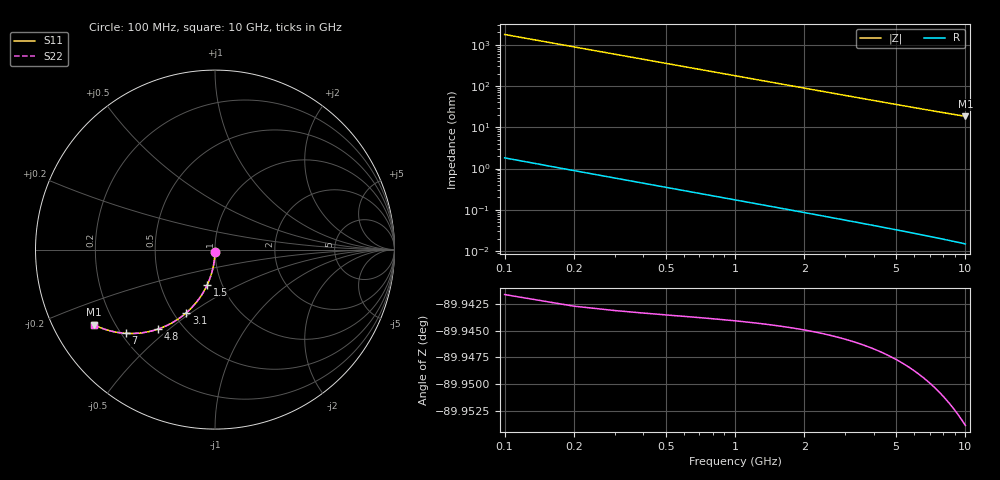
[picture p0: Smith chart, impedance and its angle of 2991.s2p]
# Hz S RI R 50.00
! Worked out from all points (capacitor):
!   100 points, 100 MHz to 10 GHz, reference 50 ohm
!   read as one part in shunt: C = 893 fF near 100 MHz
!   lowest |Z| = 18.5 ohm at 10 GHz (marker M1)
!   S11 on the Smith chart (normalised r, x): 100 MHz: 1.00, -0.03; 1.5 GHz: 0.85, -0.35; 3.1 GHz: 0.58, -0.48; 4.8 GHz: 0.37, -0.46; 7 GHz: 0.22, -0.38; 10 GHz: 0.12, -0.28
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1e8  -9.03e-05 -0.0136  0.9997 -0.0145  0.9997 -0.0145  -9.03e-05 -0.0136
2e8  -0.000692 -0.0271  0.9991 -0.0289  0.9991 -0.0289  -0.000692 -0.0271
3e8  -0.00168 -0.0406  0.9981 -0.0434  0.9981 -0.0434  -0.00168 -0.0406
4e8  -0.00307 -0.0541  0.9967 -0.0578  0.9967 -0.0578  -0.00307 -0.0541
5e8  -0.00483 -0.0675  0.9949 -0.0721  0.9949 -0.0721  -0.00483 -0.0675
6e8  -0.00698 -0.0808  0.9928 -0.0863  0.9928 -0.0863  -0.00698 -0.0808
7e8  -0.00951 -0.094  0.9902 -0.1005  0.9902 -0.1005  -0.00951 -0.094
9e8  -0.0157 -0.1201  0.984 -0.1284  0.984 -0.1284  -0.0157 -0.1201
1.2e9  -0.0276 -0.1582  0.9721 -0.1693  0.9721 -0.1693  -0.0276 -0.1582
1.5e9  -0.0425 -0.1947  0.9572 -0.2085  0.9572 -0.2085  -0.0425 -0.1947
1.8e9  -0.0601 -0.2292  0.9395 -0.2459  0.9395 -0.2459  -0.0601 -0.2292
2.4e9  -0.1023 -0.2917  0.8972 -0.314  0.8972 -0.314  -0.1023 -0.2917
3.1e9  -0.1601 -0.3521  0.8392 -0.3809  0.8392 -0.3809  -0.1601 -0.3521
3.4e9  -0.1867 -0.3737  0.8125 -0.4053  0.8125 -0.4053  -0.1867 -0.3737
4.1e9  -0.2509 -0.4142  0.7481 -0.4524  0.7481 -0.4524  -0.2509 -0.4142
4.8e9  -0.3155 -0.442  0.6832 -0.4869  0.6832 -0.4869  -0.3155 -0.442
5.1e9  -0.3426 -0.4504  0.656 -0.4982  0.656 -0.4982  -0.3426 -0.4504
5.9e9  -0.4121 -0.4641  0.5861 -0.5196  0.5861 -0.5196  -0.4121 -0.4641
6.7e9  -0.4761 -0.4673  0.5216 -0.5306  0.5216 -0.5306  -0.4761 -0.4673
7e9  -0.4985 -0.4664  0.499 -0.5326  0.499 -0.5326  -0.4985 -0.4664
8.4e9  -0.5911 -0.4507  0.4054 -0.5308  0.4054 -0.5308  -0.5911 -0.4507
1e10  -0.6747 -0.4188  0.3204 -0.5152  0.3204 -0.5152  -0.6747 -0.4188
